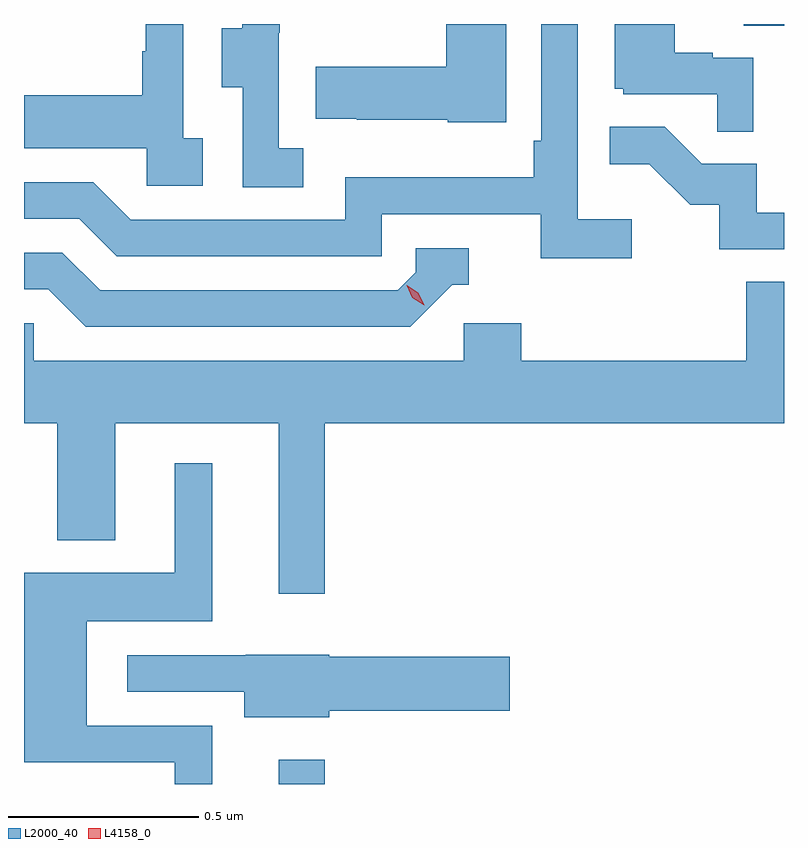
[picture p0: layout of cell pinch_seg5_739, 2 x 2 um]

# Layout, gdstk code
import gdstk
lib = gdstk.Library(unit=1e-6, precision=1e-09)
def R(c, l, rs):  # rectangles x0, y0, x1, y1
    for r in rs: c.add(gdstk.rectangle(r[:2], r[2:], *l))
def P(c, l, *ps):  # polygons
    for p in ps: c.add(gdstk.Polygon(p, *l))
L2000_40 = (2000, 40)
L4158_0 = (4158, 0)

pinch_seg5_739 = lib.new_cell('pinch_seg5_739')
R(pinch_seg5_739, L2000_40, [(822.911,907.758,823.033,907.822), (824.135,909.754,824.241,909.758)])
P(pinch_seg5_739, L2000_40, [(824.16,909.669),(824.054,909.669),(824.054,909.682),(823.954,909.682),(823.954,909.758),(823.796,909.758),(823.796,909.588),(823.818,909.588),(823.818,909.573),(824.065,909.573),(824.065,909.475),(824.16,909.475)],
  [(822.712,909.458),(822.66,909.458),(822.66,909.758),(822.562,909.758),(822.562,909.686),(822.552,909.686),(822.552,909.571),(822.241,909.571),(822.241,909.431),(822.564,909.431),(822.564,909.333),(822.712,909.333)],
  [(822.976,909.431),(822.912,909.431),(822.912,909.735),(822.914,909.735),(822.914,909.758),(822.815,909.758),(822.815,909.747),(822.761,909.747),(822.761,909.592),(822.816,909.592),(822.816,909.328),(822.976,909.328)],
  [(823.84,909.244),(823.698,909.244),(823.698,909.758),(823.602,909.758),(823.602,909.451),(823.582,909.451),(823.582,909.355),(823.086,909.355),(823.086,909.243),(822.522,909.243),(822.423,909.342),(822.241,909.342),(822.241,909.246),(822.386,909.246),(822.485,909.147),(823.182,909.147),(823.182,909.258),(823.601,909.258),(823.601,909.142),(823.84,909.142)],
  [(823.51,909.758),(823.352,909.758),(823.352,909.646),(823.009,909.646),(823.009,909.509),(823.117,909.509),(823.117,909.506),(823.356,909.506),(823.356,909.5),(823.51,909.5)],
  [(824.241,909.261),(824.169,909.261),(824.169,909.39),(824.025,909.39),(823.927,909.488),(823.783,909.488),(823.783,909.389),(823.887,909.389),(823.994,909.282),(824.071,909.282),(824.071,909.165),(824.241,909.165)],
  [(823.368,909.072),(823.411,909.072),(823.411,909.168),(823.272,909.168),(823.272,909.105),(823.224,909.057),(822.441,909.057),(822.342,909.156),(822.241,909.156),(822.241,909.06),(822.305,909.06),(822.404,908.961),(823.257,908.961)],
  [(823.033,908.708),(824.241,908.708),(824.241,909.08),(824.141,909.08),(824.141,908.872),(823.55,908.872),(823.55,908.97),(823.398,908.97),(823.398,908.872),(822.267,908.872),(822.267,908.97),(822.241,908.97),(822.241,908.708),(822.329,908.708),(822.329,908.399),(822.481,908.399),(822.481,908.708),(822.911,908.708),(822.911,908.259),(823.033,908.259)],
  [(822.736,907.911),(822.406,907.911),(822.406,908.186),(822.736,908.186),(822.736,908.602),(822.638,908.602),(822.638,908.314),(822.242,908.314),(822.242,907.815),(822.638,907.815),(822.638,907.758),(822.736,907.758)],
  [(823.044,907.951),(823.519,907.951),(823.519,908.093),(823.044,908.093),(823.044,908.098),(822.825,908.098),(822.825,908.097),(822.513,908.097),(822.513,908.001),(822.821,908.001),(822.821,907.934),(823.044,907.934)])
P(pinch_seg5_739, L4158_0, [(823.294,909.018),(823.263,909.038),(823.248,909.071),(823.248,909.071),(823.248,909.071),(823.279,909.051),(823.294,909.018),(823.294,909.018)])

lib.write_gds('pinch_seg5_739.gds')
